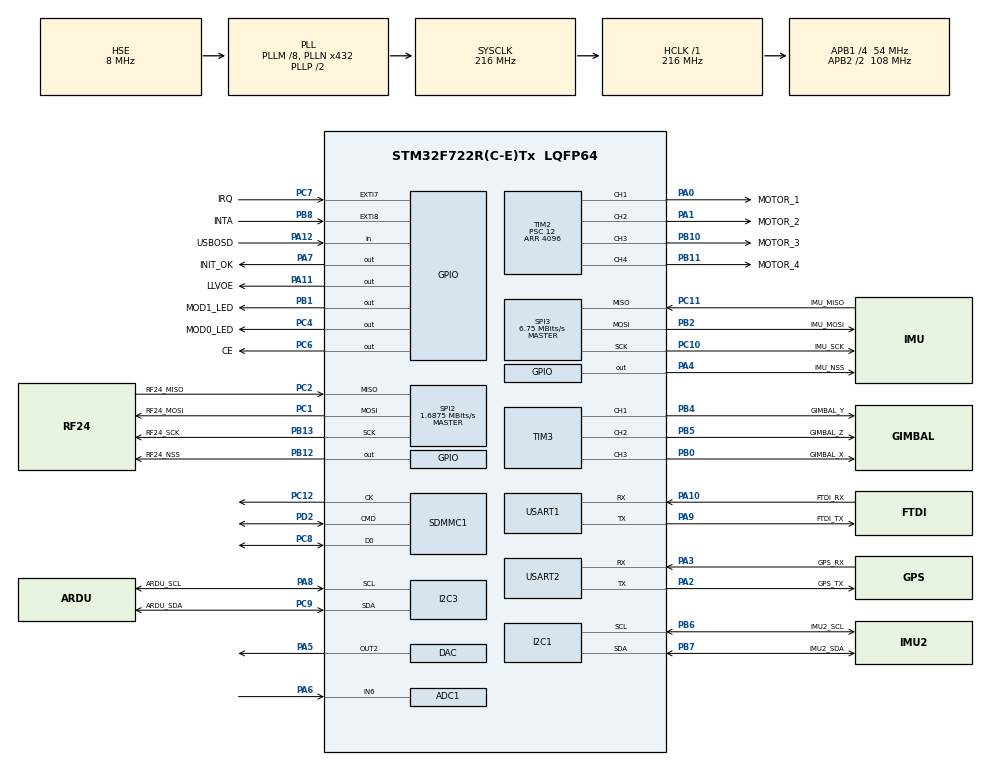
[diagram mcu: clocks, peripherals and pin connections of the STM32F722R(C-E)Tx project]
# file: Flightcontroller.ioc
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ADC1.Channel-1\#ChannelRegularConversion=ADC_CHANNEL_6
ADC1.NbrOfConversionFlag=1
ADC1.Rank-1\#ChannelRegularConversion=1
ADC1.SamplingTime-1\#ChannelRegularConversion=ADC_SAMPLETIME_3CYCLES
ADC1.master=1
DAC.DAC_Trigger2=DAC_TRIGGER_T6_TRGO
DAC.WaveGeneration2=DISABLE
Dma.ADC1.7.Direction=DMA_PERIPH_TO_MEMORY
Dma.ADC1.7.FIFOMode=DMA_FIFOMODE_DISABLE
Dma.ADC1.7.Instance=DMA2_Stream0
Dma.ADC1.7.MemDataAlignment=DMA_MDATAALIGN_HALFWORD
Dma.ADC1.7.MemInc=DMA_MINC_ENABLE
Dma.ADC1.7.Mode=DMA_NORMAL
Dma.ADC1.7.PeriphDataAlignment=DMA_PDATAALIGN_HALFWORD
Dma.ADC1.7.PeriphInc=DMA_PINC_DISABLE
Dma.ADC1.7.Priority=DMA_PRIORITY_LOW
Dma.DAC2.6.Direction=DMA_MEMORY_TO_PERIPH
Dma.DAC2.6.FIFOMode=DMA_FIFOMODE_DISABLE
Dma.DAC2.6.Instance=DMA1_Stream6
Dma.DAC2.6.MemDataAlignment=DMA_MDATAALIGN_BYTE
Dma.DAC2.6.MemInc=DMA_MINC_ENABLE
Dma.DAC2.6.Mode=DMA_CIRCULAR
Dma.DAC2.6.PeriphDataAlignment=DMA_PDATAALIGN_BYTE
Dma.DAC2.6.PeriphInc=DMA_PINC_DISABLE
Dma.DAC2.6.Priority=DMA_PRIORITY_LOW
Dma.I2C3_RX.5.Direction=DMA_PERIPH_TO_MEMORY
Dma.I2C3_RX.5.FIFOMode=DMA_FIFOMODE_DISABLE
Dma.I2C3_RX.5.Instance=DMA1_Stream1
Dma.I2C3_RX.5.MemDataAlignment=DMA_MDATAALIGN_BYTE
Dma.I2C3_RX.5.MemInc=DMA_MINC_ENABLE
Dma.I2C3_RX.5.Mode=DMA_NORMAL
Dma.I2C3_RX.5.PeriphDataAlignment=DMA_PDATAALIGN_BYTE
Dma.I2C3_RX.5.PeriphInc=DMA_PINC_DISABLE
Dma.I2C3_RX.5.Priority=DMA_PRIORITY_LOW
Dma.Request0=SPI2_RX
Dma.Request1=SPI3_RX
Dma.Request10=USART1_RX
Dma.Request11=USART1_TX
Dma.Request2=SPI3_TX
Dma.Request3=SPI2_TX
Dma.Request4=SDMMC1_TX
Dma.Request5=I2C3_RX
Dma.Request6=DAC2
Dma.Request7=ADC1
Dma.Request8=SDMMC1_RX
Dma.Request9=USART2_RX
Dma.SDMMC1_RX.8.Direction=DMA_PERIPH_TO_MEMORY
Dma.SDMMC1_RX.8.FIFOMode=DMA_FIFOMODE_ENABLE
Dma.SDMMC1_RX.8.FIFOThreshold=DMA_FIFO_THRESHOLD_FULL
Dma.SDMMC1_RX.8.Instance=DMA2_Stream3
Dma.SDMMC1_RX.8.MemBurst=DMA_MBURST_INC4
Dma.SDMMC1_RX.8.MemDataAlignment=DMA_MDATAALIGN_WORD
Dma.SDMMC1_RX.8.MemInc=DMA_MINC_ENABLE
Dma.SDMMC1_RX.8.Mode=DMA_PFCTRL
Dma.SDMMC1_RX.8.PeriphBurst=DMA_PBURST_INC4
Dma.SDMMC1_RX.8.PeriphDataAlignment=DMA_PDATAALIGN_WORD
Dma.SDMMC1_RX.8.PeriphInc=DMA_PINC_DISABLE
Dma.SDMMC1_RX.8.Priority=DMA_PRIORITY_LOW
Dma.SDMMC1_TX.4.Direction=DMA_MEMORY_TO_PERIPH
Dma.SDMMC1_TX.4.FIFOMode=DMA_FIFOMODE_ENABLE
Dma.SDMMC1_TX.4.FIFOThreshold=DMA_FIFO_THRESHOLD_FULL
Dma.SDMMC1_TX.4.Instance=DMA2_Stream6
Dma.SDMMC1_TX.4.MemBurst=DMA_MBURST_INC4
Dma.SDMMC1_TX.4.MemDataAlignment=DMA_MDATAALIGN_WORD
Dma.SDMMC1_TX.4.MemInc=DMA_MINC_ENABLE
Dma.SDMMC1_TX.4.Mode=DMA_PFCTRL
Dma.SDMMC1_TX.4.PeriphBurst=DMA_PBURST_INC4
Dma.SDMMC1_TX.4.PeriphDataAlignment=DMA_PDATAALIGN_WORD
Dma.SDMMC1_TX.4.PeriphInc=DMA_PINC_DISABLE
Dma.SDMMC1_TX.4.Priority=DMA_PRIORITY_LOW
Dma.SPI2_RX.0.Direction=DMA_PERIPH_TO_MEMORY
Dma.SPI2_RX.0.FIFOMode=DMA_FIFOMODE_DISABLE
Dma.SPI2_RX.0.Instance=DMA1_Stream3
Dma.SPI2_RX.0.MemDataAlignment=DMA_MDATAALIGN_BYTE
Dma.SPI2_RX.0.MemInc=DMA_MINC_ENABLE
Dma.SPI2_RX.0.Mode=DMA_NORMAL
Dma.SPI2_RX.0.PeriphDataAlignment=DMA_PDATAALIGN_BYTE
Dma.SPI2_RX.0.PeriphInc=DMA_PINC_DISABLE
Dma.SPI2_RX.0.Priority=DMA_PRIORITY_LOW
Dma.SPI2_TX.3.Direction=DMA_MEMORY_TO_PERIPH
Dma.SPI2_TX.3.FIFOMode=DMA_FIFOMODE_DISABLE
Dma.SPI2_TX.3.Instance=DMA1_Stream4
Dma.SPI2_TX.3.MemDataAlignment=DMA_MDATAALIGN_BYTE
Dma.SPI2_TX.3.MemInc=DMA_MINC_ENABLE
Dma.SPI2_TX.3.Mode=DMA_NORMAL
Dma.SPI2_TX.3.PeriphDataAlignment=DMA_PDATAALIGN_BYTE
Dma.SPI2_TX.3.PeriphInc=DMA_PINC_DISABLE
Dma.SPI2_TX.3.Priority=DMA_PRIORITY_LOW
Dma.SPI3_RX.1.Direction=DMA_PERIPH_TO_MEMORY
Dma.SPI3_RX.1.FIFOMode=DMA_FIFOMODE_DISABLE
Dma.SPI3_RX.1.Instance=DMA1_Stream2
Dma.SPI3_RX.1.MemDataAlignment=DMA_MDATAALIGN_BYTE
Dma.SPI3_RX.1.MemInc=DMA_MINC_ENABLE
Dma.SPI3_RX.1.Mode=DMA_NORMAL
Dma.SPI3_RX.1.PeriphDataAlignment=DMA_PDATAALIGN_BYTE
Dma.SPI3_RX.1.PeriphInc=DMA_PINC_DISABLE
Dma.SPI3_RX.1.Priority=DMA_PRIORITY_HIGH
Dma.SPI3_TX.2.Direction=DMA_MEMORY_TO_PERIPH
Dma.SPI3_TX.2.FIFOMode=DMA_FIFOMODE_DISABLE
Dma.SPI3_TX.2.Instance=DMA1_Stream7
Dma.SPI3_TX.2.MemDataAlignment=DMA_MDATAALIGN_BYTE
Dma.SPI3_TX.2.MemInc=DMA_MINC_ENABLE
Dma.SPI3_TX.2.Mode=DMA_NORMAL
Dma.SPI3_TX.2.PeriphDataAlignment=DMA_PDATAALIGN_BYTE
Dma.SPI3_TX.2.PeriphInc=DMA_PINC_DISABLE
Dma.SPI3_TX.2.Priority=DMA_PRIORITY_HIGH
Dma.USART1_RX.10.Direction=DMA_PERIPH_TO_MEMORY
Dma.USART1_RX.10.FIFOMode=DMA_FIFOMODE_DISABLE
Dma.USART1_RX.10.Instance=DMA2_Stream2
Dma.USART1_RX.10.MemDataAlignment=DMA_MDATAALIGN_BYTE
Dma.USART1_RX.10.MemInc=DMA_MINC_ENABLE
Dma.USART1_RX.10.Mode=DMA_NORMAL
Dma.USART1_RX.10.PeriphDataAlignment=DMA_PDATAALIGN_BYTE
Dma.USART1_RX.10.PeriphInc=DMA_PINC_DISABLE
Dma.USART1_RX.10.Priority=DMA_PRIORITY_LOW
Dma.USART1_TX.11.Direction=DMA_MEMORY_TO_PERIPH
Dma.USART1_TX.11.FIFOMode=DMA_FIFOMODE_DISABLE
Dma.USART1_TX.11.Instance=DMA2_Stream7
Dma.USART1_TX.11.MemDataAlignment=DMA_MDATAALIGN_BYTE
Dma.USART1_TX.11.MemInc=DMA_MINC_ENABLE
Dma.USART1_TX.11.Mode=DMA_NORMAL
Dma.USART1_TX.11.PeriphDataAlignment=DMA_PDATAALIGN_BYTE
Dma.USART1_TX.11.PeriphInc=DMA_PINC_DISABLE
Dma.USART1_TX.11.Priority=DMA_PRIORITY_LOW
Dma.USART2_RX.9.Direction=DMA_PERIPH_TO_MEMORY
Dma.USART2_RX.9.FIFOMode=DMA_FIFOMODE_DISABLE
Dma.USART2_RX.9.Instance=DMA1_Stream5
Dma.USART2_RX.9.MemDataAlignment=DMA_MDATAALIGN_BYTE
Dma.USART2_RX.9.MemInc=DMA_MINC_ENABLE
Dma.USART2_RX.9.Mode=DMA_CIRCULAR
Dma.USART2_RX.9.PeriphDataAlignment=DMA_PDATAALIGN_BYTE
Dma.USART2_RX.9.PeriphInc=DMA_PINC_DISABLE
Dma.USART2_RX.9.Priority=DMA_PRIORITY_LOW
FATFS.BSP.number=1
FATFS0.BSP.STBoard=false
FATFS0.BSP.api=Unknown
FATFS0.BSP.i2caddr=0
FATFS0.BSP.instance=PA12
FATFS0.BSP.ip=GPIO
FATFS0.BSP.mode=Input
FATFS0.BSP.name=Detect_SDIO
FATFS0.BSP.solution=PA12
I2C1.Timing=0x20404768
I2C3.Timing=0x20404768
Mcu.Family=STM32F7
Mcu.Name=STM32F722R(C-E)Tx
Mcu.Package=LQFP64
NVIC.DMA1_Stream1_IRQn=true\:0\:0\:false\:false\:true\:false\:true
NVIC.DMA1_Stream2_IRQn=true\:0\:0\:false\:false\:true\:false\:true
NVIC.DMA1_Stream3_IRQn=true\:0\:0\:false\:false\:true\:false\:true
NVIC.DMA1_Stream4_IRQn=true\:0\:0\:false\:false\:true\:false\:true
NVIC.DMA1_Stream5_IRQn=true\:0\:0\:false\:false\:true\:false\:true
NVIC.DMA1_Stream6_IRQn=true\:0\:0\:false\:false\:true\:false\:true
NVIC.DMA1_Stream7_IRQn=true\:0\:0\:false\:false\:true\:false\:true
NVIC.DMA2_Stream0_IRQn=true\:0\:0\:false\:false\:true\:false\:true
NVIC.DMA2_Stream2_IRQn=true\:0\:0\:false\:false\:true\:false\:true
NVIC.DMA2_Stream3_IRQn=true\:0\:0\:false\:false\:true\:false\:true
NVIC.DMA2_Stream6_IRQn=true\:0\:0\:false\:false\:true\:false\:true
NVIC.DMA2_Stream7_IRQn=true\:0\:0\:false\:false\:true\:false\:true
NVIC.EXTI9_5_IRQn=true\:0\:0\:false\:false\:true\:true\:true
NVIC.PriorityGroup=NVIC_PRIORITYGROUP_4
NVIC.SDMMC1_IRQn=true\:0\:0\:false\:false\:true\:true\:true
NVIC.TIM4_IRQn=true\:0\:0\:false\:false\:true\:true\:true
NVIC.USART2_IRQn=true\:0\:0\:false\:false\:true\:true\:true
PA0-WKUP.GPIO_Label=MOTOR_1
PA0-WKUP.Signal=S_TIM2_CH1_ETR
PA1.GPIO_Label=MOTOR_2
PA1.Signal=S_TIM2_CH2
PA10.GPIO_Label=FTDI_RX
PA10.Mode=Asynchronous
PA10.Signal=USART1_RX
PA11.GPIO_Label=LLVOE
PA11.Signal=GPIO_Output
PA12.GPIO_Label=USBOSD
PA12.GPIO_PuPd=GPIO_NOPULL
PA12.Signal=GPIO_Input
PA13.Mode=Serial_Wire
PA13.Signal=SYS_JTMS-SWDIO
PA14.Mode=Serial_Wire
PA14.Signal=SYS_JTCK-SWCLK
PA2.GPIO_Label=GPS_TX
PA2.Mode=Asynchronous
PA2.Signal=USART2_TX
PA3.GPIO_Label=GPS_RX
PA3.Mode=Asynchronous
PA3.Signal=USART2_RX
PA4.GPIO_Label=IMU_NSS
PA4.GPIO_Speed=GPIO_SPEED_FREQ_VERY_HIGH
PA4.PinState=GPIO_PIN_SET
PA4.Signal=GPIO_Output
PA5.Signal=COMP_DAC2_group
PA6.Signal=ADCx_IN6
PA7.GPIO_Label=INIT_OK
PA7.Signal=GPIO_Output
PA8.GPIO_Label=ARDU_SCL
PA8.Mode=I2C
PA8.Signal=I2C3_SCL
PA9.GPIO_Label=FTDI_TX
PA9.Mode=Asynchronous
PA9.Signal=USART1_TX
PB0.GPIO_Label=GIMBAL_X
PB0.Signal=S_TIM3_CH3
PB1.GPIO_Label=MOD1_LED
PB1.Signal=GPIO_Output
PB10.GPIO_Label=MOTOR_3
PB10.Signal=S_TIM2_CH3
PB11.GPIO_Label=MOTOR_4
PB11.Signal=S_TIM2_CH4
PB12.GPIO_Label=RF24_NSS
PB12.GPIO_PuPd=GPIO_PULLUP
PB12.GPIO_Speed=GPIO_SPEED_FREQ_VERY_HIGH
PB12.PinState=GPIO_PIN_SET
PB12.Signal=GPIO_Output
PB13.GPIO_Label=RF24_SCK
PB13.Mode=Full_Duplex_Master
PB13.Signal=SPI2_SCK
PB2.GPIO_Label=IMU_MOSI
PB2.Mode=Full_Duplex_Master
PB2.Signal=SPI3_MOSI
PB4.GPIO_Label=GIMBAL_Y
PB4.Signal=S_TIM3_CH1
PB5.GPIO_Label=GIMBAL_Z
PB5.Signal=S_TIM3_CH2
PB6.GPIO_Label=IMU2_SCL
PB6.Mode=I2C
PB6.Signal=I2C1_SCL
PB7.GPIO_Label=IMU2_SDA
PB7.Mode=I2C
PB7.Signal=I2C1_SDA
PB8.GPIO_Label=INTA
PB8.Signal=GPXTI8
PC1.GPIO_Label=RF24_MOSI
PC1.Mode=Full_Duplex_Master
PC1.Signal=SPI2_MOSI
PC10.GPIO_Label=IMU_SCK
PC10.Mode=Full_Duplex_Master
PC10.Signal=SPI3_SCK
PC11.GPIO_Label=IMU_MISO
PC11.Mode=Full_Duplex_Master
PC11.Signal=SPI3_MISO
PC12.Mode=SD_1_bit
PC12.Signal=SDMMC1_CK
PC2.GPIO_Label=RF24_MISO
PC2.Mode=Full_Duplex_Master
PC2.Signal=SPI2_MISO
PC4.GPIO_Label=MOD0_LED
PC4.Signal=GPIO_Output
PC6.GPIO_Label=CE
PC6.Signal=GPIO_Output
PC7.GPIO_Label=IRQ
PC7.Signal=GPXTI7
PC8.Mode=SD_1_bit
PC8.Signal=SDMMC1_D0
PC9.GPIO_Label=ARDU_SDA
PC9.Mode=I2C
PC9.Signal=I2C3_SDA
PD2.Mode=SD_1_bit
PD2.Signal=SDMMC1_CMD
PH0-OSC_IN.Mode=HSE-External-Oscillator
PH0-OSC_IN.Signal=RCC_OSC_IN
PH1-OSC_OUT.Mode=HSE-External-Oscillator
PH1-OSC_OUT.Signal=RCC_OSC_OUT
ProjectManager.HeapSize=0x2000
ProjectManager.StackSize=0x4000
ProjectManager.TargetToolchain=STM32CubeIDE
RCC.AHBFreq_Value=216000000
RCC.APB1CLKDivider=RCC_HCLK_DIV4
RCC.APB1Freq_Value=54000000
RCC.APB1TimFreq_Value=108000000
RCC.APB2CLKDivider=RCC_HCLK_DIV2
RCC.APB2Freq_Value=108000000
RCC.APB2TimFreq_Value=216000000
RCC.CortexFreq_Value=216000000
RCC.HCLKFreq_Value=216000000
RCC.HSE_VALUE=8000000
RCC.HSI_VALUE=16000000
RCC.LSE_VALUE=32768
RCC.PLLM=8
RCC.PLLN=432
RCC.PLLQ=9
RCC.PLLSourceVirtual=RCC_PLLSOURCE_HSE
RCC.SDMMCClockSelection=RCC_SDMMC1CLKSOURCE_CLK48
RCC.SYSCLKFreq_VALUE=216000000
RCC.SYSCLKSource=RCC_SYSCLKSOURCE_PLLCLK
RCC.USBFreq_Value=48000000
RCC.VCOOutputFreq_Value=432000000
SDMMC1.ClockDiv=0
SH.ADCx_IN6.0=ADC1_IN6,IN6
SH.COMP_DAC2_group.0=DAC_OUT2,DAC_OUT2
SH.S_TIM2_CH1_ETR.0=TIM2_CH1,PWM Generation1 CH1
SH.S_TIM2_CH2.0=TIM2_CH2,PWM Generation2 CH2
SH.S_TIM2_CH3.0=TIM2_CH3,PWM Generation3 CH3
SH.S_TIM2_CH4.0=TIM2_CH4,PWM Generation4 CH4
SH.S_TIM3_CH1.0=TIM3_CH1,PWM Generation1 CH1
SH.S_TIM3_CH2.0=TIM3_CH2,PWM Generation2 CH2
SH.S_TIM3_CH3.0=TIM3_CH3,PWM Generation3 CH3
SPI2.BaudRatePrescaler=SPI_BAUDRATEPRESCALER_32
SPI2.CalculateBaudRate=1.6875 MBits/s
SPI2.DataSize=SPI_DATASIZE_8BIT
SPI2.Direction=SPI_DIRECTION_2LINES
SPI2.Mode=SPI_MODE_MASTER
SPI2.VirtualType=VM_MASTER
SPI3.BaudRatePrescaler=SPI_BAUDRATEPRESCALER_8
SPI3.CalculateBaudRate=6.75 MBits/s
SPI3.DataSize=SPI_DATASIZE_8BIT
SPI3.Direction=SPI_DIRECTION_2LINES
SPI3.Mode=SPI_MODE_MASTER
SPI3.NSSPMode=SPI_NSS_PULSE_DISABLE
SPI3.VirtualType=VM_MASTER
TIM2.Channel-PWM\ Generation1\ CH1=TIM_CHANNEL_1
TIM2.Channel-PWM\ Generation2\ CH2=TIM_CHANNEL_2
TIM2.Channel-PWM\ Generation3\ CH3=TIM_CHANNEL_3
TIM2.Channel-PWM\ Generation4\ CH4=TIM_CHANNEL_4
TIM2.Period=4096
TIM2.Prescaler=12
TIM3.Channel-PWM\ Generation1\ CH1=TIM_CHANNEL_1
TIM3.Channel-PWM\ Generation2\ CH2=TIM_CHANNEL_2
TIM3.Channel-PWM\ Generation3\ CH3=TIM_CHANNEL_3
TIM4.Period=53999
TIM4.Prescaler=7
TIM6.Period=10
TIM6.TIM_MasterOutputTrigger=TIM_TRGO_UPDATE
USART1.VirtualMode-Asynchronous=VM_ASYNC
USART2.VirtualMode-Asynchronous=VM_ASYNC
VP_FATFS_VS_SDIO.Mode=SDIO
VP_TIM2_VS_ClockSourceINT.Mode=Internal
VP_TIM4_VS_ClockSourceINT.Mode=Internal
VP_TIM6_VS_ClockSourceINT.Mode=Enable_Timer
board=custom

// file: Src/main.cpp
/* USER CODE BEGIN Header */
/**
  ******************************************************************************
  * @file           : main.c
  * @brief          : Main program body
  ******************************************************************************
  * @attention
  *
  * <h2><center>&copy; Copyright (c) 2019 STMicroelectronics.
  * All rights reserved.</center></h2>
  *
  * This software component is licensed by ST under BSD 3-Clause license,
  * the "License"; You may not use this file except in compliance with the
  * License. You may obtain a copy of the License at:
  *                        opensource.org/licenses/BSD-3-Clause
  *
  ******************************************************************************
  */
/* USER CODE END Header */

#include "main.h"
#include "stdio.h"
#include "adc.h"
#include "dac.h"
#include "dma.h"
#include "fatfs.h"
#include "i2c.h"
#include "sdmmc.h"
#include "spi.h"
#include "tim.h"
#include "usart.h"
#include "gpio.h"

/* USER CODE BEGIN Includes */
#include "math.h"
#include "ICM20689.h"
#include "MPU6050.h"
#include "RF24.h"
#include "IMU.h"
#include <string>
/* USER CODE END Includes */

/* USER CODE BEGIN PD */
#define ARM_CM_DEMCR      		(*(uint32_t *)0xE000EDFC)
#define ARM_CM_DWT_CTRL   		(*(uint32_t *)0xE0001000)
#define ARM_CM_DWT_CYCCNT 		(*(uint32_t *)0xE0001004)

#define ICM20689_ENABLE 		1

#define SD_CARD					0

#define ICM20689_OFFSET_FIND  	0

#define PID_TRUE_ANGLE			1
#define PID_ANGLE_MOTION		0

#define USB_MODE 				true
#define OSD_MODE 				false

#define DLPF_FREQ_YAW			5.0
#define DLPF_FREQ_PITCHROLL		200.0

#define CUTOFF_ANGLE			40.0

#define MAX_CORRECTION			600
/* USER CODE END PD */

void SystemClock_Config(void);

/* USER CODE BEGIN 0 */
uint8_t  sine[256] = { //!< 8bit sine for test with DAC
  0x80, 0x83, 0x86, 0x89, 0x8C, 0x90, 0x93, 0x96,
  0x99, 0x9C, 0x9F, 0xA2, 0xA5, 0xA8, 0xAB, 0xAE,
  0xB1, 0xB3, 0xB6, 0xB9, 0xBC, 0xBF, 0xC1, 0xC4,
  0xC7, 0xC9, 0xCC, 0xCE, 0xD1, 0xD3, 0xD5, 0xD8,
  0xDA, 0xDC, 0xDE, 0xE0, 0xE2, 0xE4, 0xE6, 0xE8,
  0xEA, 0xEB, 0xED, 0xEF, 0xF0, 0xF1, 0xF3, 0xF4,
  0xF5, 0xF6, 0xF8, 0xF9, 0xFA, 0xFA, 0xFB, 0xFC,
  0xFD, 0xFD, 0xFE, 0xFE, 0xFE, 0xFF, 0xFF, 0xFF,
  0xFF, 0xFF, 0xFF, 0xFF, 0xFE, 0xFE, 0xFE, 0xFD,
  0xFD, 0xFC, 0xFB, 0xFA, 0xFA, 0xF9, 0xF8, 0xF6,
  0xF5, 0xF4, 0xF3, 0xF1, 0xF0, 0xEF, 0xED, 0xEB,
  0xEA, 0xE8, 0xE6, 0xE4, 0xE2, 0xE0, 0xDE, 0xDC,
  0xDA, 0xD8, 0xD5, 0xD3, 0xD1, 0xCE, 0xCC, 0xC9,
  0xC7, 0xC4, 0xC1, 0xBF, 0xBC, 0xB9, 0xB6, 0xB3,
  0xB1, 0xAE, 0xAB, 0xA8, 0xA5, 0xA2, 0x9F, 0x9C,
  0x99, 0x96, 0x93, 0x90, 0x8C, 0x89, 0x86, 0x83,
  0x80, 0x7D, 0x7A, 0x77, 0x74, 0x70, 0x6D, 0x6A,
  0x67, 0x64, 0x61, 0x5E, 0x5B, 0x58, 0x55, 0x52,
  0x4F, 0x4D, 0x4A, 0x47, 0x44, 0x41, 0x3F, 0x3C,
  0x39, 0x37, 0x34, 0x32, 0x2F, 0x2D, 0x2B, 0x28,
  0x26, 0x24, 0x22, 0x20, 0x1E, 0x1C, 0x1A, 0x18,
  0x16, 0x15, 0x13, 0x11, 0x10, 0x0F, 0x0D, 0x0C,
  0x0B, 0x0A, 0x08, 0x07, 0x06, 0x06, 0x05, 0x04,
  0x03, 0x03, 0x02, 0x02, 0x02, 0x01, 0x01, 0x01,
  0x01, 0x01, 0x01, 0x01, 0x02, 0x02, 0x02, 0x03,
  0x03, 0x04, 0x05, 0x06, 0x06, 0x07, 0x08, 0x0A,
  0x0B, 0x0C, 0x0D, 0x0F, 0x10, 0x11, 0x13, 0x15,
  0x16, 0x18, 0x1A, 0x1C, 0x1E, 0x20, 0x22, 0x24,
  0x26, 0x28, 0x2B, 0x2D, 0x2F, 0x32, 0x34, 0x37,
  0x39, 0x3C, 0x3F, 0x41, 0x44, 0x47, 0x4A, 0x4D,
  0x4F, 0x52, 0x55, 0x58, 0x5B, 0x5E, 0x61, 0x64,
  0x67, 0x6A, 0x6D, 0x70, 0x74, 0x77, 0x7A, 0x7D
};
bool 						osdusb = USB_MODE;						//!< define UART output to USB or OSD
void 						motor_calibration();					//!< Motorcalibration

//ICM
Sensor::ICM20689 			imu;									//!< define IMU (ICM20689) notused
const float 				PI = 3.1415;							//!< pi constant

uint32_t 					start = 0, stop = 0;					//!< start and stop for looptime measurement (read clockcycles)
volatile double 			lptime = 0;								//!< looptime in seconds

//Radio
RF24 						radio(GPIOC, 6, GPIOB, 12, &hspi2);		//!< define radio (nRF24L01)
void 						loopRadio(); 							//!< function: loops radio read data from radio into recvData
//const uint8_t addresses[][6] = {"1Node","2Node"};//!<

//uint8_t data[1] = { 0x41};

//! Acknowlegement struct
struct AckData{
	int16_t 				yaw;									//!< 2 bytes 2
	int16_t 				pitch;									//!< 2 bytes 4
	int16_t 				roll;									//!< 2 bytes 6

	uint16_t 				heading;								//!< 2 bytes 8
	uint32_t 				altitude; 								//!< 4 bytes 12

	uint32_t 				LV03x;									//!< 4 byte 16
	uint32_t 				LV03y;									//!< 4 byte 20

	uint16_t 				flags;									//!< 2 bytes 22
	uint32_t				uptdate_time; 							//!< 4 bytes 26
};

//! receive message struct
struct RadioData{
	int16_t					yaw;									//!< 2 bytes 2
	int16_t					pitch;									//!< 2 bytes 4
	int16_t					roll;									//!< 2 bytes 6
	uint16_t				throttle;								//!< 2 bytes 8

	uint16_t				rp_P;									//!<2 bytes 10
	uint16_t				rp_I;									//!<2 bytes 12
	uint16_t				rp_D;									//!<2 bytes 14

	uint16_t				y_P;									//!<2 bytes 16
	uint16_t				y_I;									//!<2 bytes 18
	uint16_t				y_D;									//!<2 bytes 20

	uint16_t				flags;									//!< 2 bytes 10
	uint32_t				data;									//!< 4 bytes 14
};

AckData 					ackData;								//!< define acknowlegement data
RadioData 					recvData;								//!< define receive data

//I2cdev MPU6050
#if MPU6050_ENABLE == 1
MPU6050 					mpu;
uint16_t 					packetSize;
uint16_t 					fifoCount;
uint8_t	 					fifoBuffer[64];
Quaternion 					q;
VectorFloat 				gravity;
float 						ypr[3];
#endif

//PID
void 						PID_TrueAngle();						//!< function: PID calculation with true angle
void 						PID_AngleMotion();						//!< function: PID calculation with angular motion

int16_t 					pid_ta[3];								//!< define PID with true angle
int16_t 					pid_am[3];								//!< define PID with angle motion

volatile float 				_pid_ta[3][3];							//!< define individual PID for axis [axis][PID]
volatile float 				_pid_am[3][3];							//!< define individual PID for axis [axis][PID]

float						pid_gain_ta[3][3];						//!< define pid gain [axis][gain] for PID with true angles
float						pid_gain_am[3][3];						//!< define pid gain [axis][gain] for PID with angle motion

float 						error[3];								//!< define error
float 						previous_error[3];						//!< define previous error for D-Gain

//Digital Low-pass DLPF
volatile float				alpha;									//!< define alpha for DLPF
volatile float				alpha2;									//!< define alpha for DLPF
volatile float 				f_ypr[3];								//!< define filtered true angle values
float						z_point[2]	= {0,0};

//Motor
void 						setMotorSpeed();						//!< function: sets motor speed according to throttle and PID calculation
uint16_t 					motor_speed[4];							//!< define motor speed for the 4 motors

//SD Card
UINT						reSD;									//!< count errors of write to SD
int 						cc = 0;									//!< count number of data in buffer
double						tim = 0;								//!< elapsed time
char 						logbuf[10000];							//!< write buffer
std::string 				sbuf = " ";								//!< tmp write buffer in loop

char						gpsbuffer[80];							//!< GPSBuffer notused

//Zeropoint

float						z_point_avg[2];
int							avg_count = 100;

void HAL_SPI_RxCpltCallback(SPI_HandleTypeDef *hspi){
	//read IMU GYRO ACCEL alternating
	if (icm.init == true){
		int16_t r_gyro[3],r_accel[3];

		if(icm.ac == 0){
			r_gyro[0] = (icm.buf[0] << 8) | icm.buf[1];
			r_gyro[1] = (icm.buf[2] << 8) | icm.buf[3];
			r_gyro[2] = (icm.buf[4] << 8) | icm.buf[5];

			for(int i = 0; i<3; i++){
				icm.ypr[i] = r_gyro[i] / 65.5;
			}
			icm.ac = 1;
		}else{
			r_accel[0] = (icm.buf[0] << 8) | icm.buf[1];
			r_accel[1] = (icm.buf[2] << 8) | icm.buf[3];
			r_accel[2] = (icm.buf[4] << 8) | icm.buf[5];

			for(int i = 0; i<3; i++){
				icm.accel[i] =  r_accel[i] / 4096.0;
			}
			icm.ac = 0;
		}
		//NSS HIGH IMU SPI
		HAL_GPIO_WritePin(IMU_NSS_GPIO_Port, IMU_NSS_Pin, GPIO_PIN_SET);
	}
}

/* USER CODE END 0 */

int main(void)
{
  /* USER CODE BEGIN 1 */

	//init PID values
	pid_gain_am[0][0] = 0;
	pid_gain_am[0][1] = 0;
	pid_gain_am[0][2] = 0;

	pid_gain_ta[1][0] = 15;
	pid_gain_ta[1][1] = 0.025;
	pid_gain_ta[1][2] = 0.8;

	pid_gain_ta[2][0] = 15;
	pid_gain_ta[2][1] = 0.025;
	pid_gain_ta[2][2] = 0.8;

	icm.ac = 0;
	icm.init = false;
  /* USER CODE END 1 */

  /* MCU Configuration--------------------------------------------------------*/

  /* Reset of all peripherals, Initializes the Flash interface and the Systick. */

  HAL_Init();

  /* Configure the system clock */
  SystemClock_Config();

  /* Initialize all configured peripherals */
  MX_GPIO_Init();
  MX_DMA_Init();
  MX_I2C1_Init();
  MX_SDMMC1_SD_Init();
  MX_SPI2_Init();
  MX_USART1_UART_Init();
  MX_USART2_UART_Init();
  MX_FATFS_Init();
  MX_I2C3_Init();
  MX_TIM2_Init();
  MX_DAC_Init();
  MX_SPI3_Init();
  MX_ADC1_Init();
  MX_TIM3_Init();
  MX_TIM6_Init();
  MX_TIM4_Init();
  /* USER CODE BEGIN 2 */

  // INIT MOTORS
  // Start PWM on timer 2
  HAL_TIM_PWM_Start(&htim2, TIM_CHANNEL_1);
  HAL_TIM_PWM_Start(&htim2, TIM_CHANNEL_2);
  HAL_TIM_PWM_Start(&htim2, TIM_CHANNEL_3);
  HAL_TIM_PWM_Start(&htim2, TIM_CHANNEL_4);

  //Motor calibration

  // INIT GIMBAL
  // Start PWM on timer 3
  HAL_TIM_PWM_Start(&htim3, TIM_CHANNEL_1);
  HAL_TIM_PWM_Start(&htim3, TIM_CHANNEL_2);
  HAL_TIM_PWM_Start(&htim3, TIM_CHANNEL_3);

  //START LOGIC LEVEL CONVERTER
  //set LLVOE Pin HIGH
  HAL_GPIO_WritePin(LLVOE_GPIO_Port, LLVOE_Pin, GPIO_PIN_SET);

  //Set UART to USB or OSD Mode
  if(HAL_GPIO_ReadPin(USBOSD_GPIO_Port, USBOSD_Pin) == GPIO_PIN_RESET){
	  osdusb = USB_MODE;
	  motor_calibration();
	  HAL_GPIO_WritePin(MOD0_LED_GPIO_Port, MOD0_LED_Pin, GPIO_PIN_SET);
  }else{
	  osdusb = OSD_MODE;
	  HAL_GPIO_WritePin(MOD1_LED_GPIO_Port, MOD1_LED_Pin, GPIO_PIN_SET);
  }

  //Start and Test DAC
  HAL_TIM_Base_Start(&htim6);	//start Timer 6 for dac tickspeed
  HAL_DAC_Start_DMA(&hdac, DAC_CHANNEL_2, (uint32_t *)sine, 256, DAC_ALIGN_8B_R);	//start DAC DMA read from sine array in circular mode
  HAL_Delay(1000);
  HAL_TIM_Base_Stop(&htim6);

  //init IMU
#if ICM20689_ENABLE == 1
  //imu.Initalize();

  // RESET IMU
  uint8_t tmp[2] = {PWR_MGMT_1,0x40};
  HAL_GPIO_WritePin(IMU_NSS_GPIO_Port, IMU_NSS_Pin, GPIO_PIN_RESET);
  HAL_SPI_Transmit(&hspi3, tmp, 2, HAL_MAX_DELAY);
  while (HAL_SPI_GetState(&hspi3) != HAL_SPI_STATE_READY);
  HAL_GPIO_WritePin(IMU_NSS_GPIO_Port, IMU_NSS_Pin, GPIO_PIN_SET);
  HAL_Delay(100);

  // DISABLE I2C
  tmp[0] = USER_CTRL;
  tmp[1] = 0x10;
  HAL_GPIO_WritePin(IMU_NSS_GPIO_Port, IMU_NSS_Pin, GPIO_PIN_RESET);
  HAL_SPI_Transmit(&hspi3, tmp, 2, HAL_MAX_DELAY);
  while (HAL_SPI_GetState(&hspi3) != HAL_SPI_STATE_READY);
  HAL_GPIO_WritePin(IMU_NSS_GPIO_Port, IMU_NSS_Pin, GPIO_PIN_SET);
  HAL_Delay(10);

  // START IMU
  tmp[0] = PWR_MGMT_1;
  tmp[1] = 0x00;
  HAL_GPIO_WritePin(IMU_NSS_GPIO_Port, IMU_NSS_Pin, GPIO_PIN_RESET);
  HAL_SPI_Transmit(&hspi3, tmp, 2, HAL_MAX_DELAY);
  while (HAL_SPI_GetState(&hspi3) != HAL_SPI_STATE_READY);
  HAL_GPIO_WritePin(IMU_NSS_GPIO_Port, IMU_NSS_Pin, GPIO_PIN_SET);
  HAL_Delay(10);

  //CONTROL ID
  tmp[0] = WHO_AM_I|0x80;
  uint8_t whoami[1] ;
  HAL_GPIO_WritePin(IMU_NSS_GPIO_Port, IMU_NSS_Pin, GPIO_PIN_RESET);
  HAL_SPI_Transmit(&hspi3,(uint8_t *)tmp, 1, HAL_MAX_DELAY);
  HAL_SPI_Receive(&hspi3, (uint8_t *)whoami, 1, HAL_MAX_DELAY);
  while (HAL_SPI_GetState(&hspi3) != HAL_SPI_STATE_READY);
  HAL_GPIO_WritePin(IMU_NSS_GPIO_Port, IMU_NSS_Pin, GPIO_PIN_SET);
  // if IMU fails (whoami register returns false value)
  if(whoami[0] != 0x98){
	  for(;;){
		  HAL_GPIO_TogglePin(INIT_OK_GPIO_Port, INIT_OK_Pin);
		  HAL_Delay(100);
	  }
  }
  HAL_Delay(10);

  //set DLPF to 2 108.6 HZ BW
  tmp[0] = CONFIG;
  tmp[1] = 0x02;
  HAL_GPIO_WritePin(IMU_NSS_GPIO_Port, IMU_NSS_Pin, GPIO_PIN_RESET);
  HAL_SPI_Transmit(&hspi3, tmp, 2, HAL_MAX_DELAY);
  while (HAL_SPI_GetState(&hspi3) != HAL_SPI_STATE_READY);
  HAL_GPIO_WritePin(IMU_NSS_GPIO_Port, IMU_NSS_Pin, GPIO_PIN_SET);
  HAL_Delay(10);

  //set GYRO to 500dps 08
  tmp[0] = GYRO_CONFIG;
  tmp[1] = 0x08;
  HAL_GPIO_WritePin(IMU_NSS_GPIO_Port, IMU_NSS_Pin, GPIO_PIN_RESET);
  HAL_SPI_Transmit(&hspi3, tmp, 2, HAL_MAX_DELAY);
  while (HAL_SPI_GetState(&hspi3) != HAL_SPI_STATE_READY);
  HAL_GPIO_WritePin(IMU_NSS_GPIO_Port, IMU_NSS_Pin, GPIO_PIN_SET);
  HAL_Delay(10);

  //set ACCEL to 8g
  tmp[0] = ACCEL_CONFIG;
  tmp[1] = 0x10;
  HAL_GPIO_WritePin(IMU_NSS_GPIO_Port, IMU_NSS_Pin, GPIO_PIN_RESET);
  HAL_SPI_Transmit(&hspi3, tmp, 2, HAL_MAX_DELAY);
  while (HAL_SPI_GetState(&hspi3) != HAL_SPI_STATE_READY);
  HAL_GPIO_WritePin(IMU_NSS_GPIO_Port, IMU_NSS_Pin, GPIO_PIN_SET);
  HAL_Delay(10);

  //set ACCEL DLPF to 121.3Hz
  tmp[0] = ACCEL_CONFIG_2;
  tmp[1] = 0x02;
  HAL_GPIO_WritePin(IMU_NSS_GPIO_Port, IMU_NSS_Pin, GPIO_PIN_RESET);
  HAL_SPI_Transmit(&hspi3, tmp, 2, HAL_MAX_DELAY);
  while (HAL_SPI_GetState(&hspi3) != HAL_SPI_STATE_READY);
  HAL_GPIO_WritePin(IMU_NSS_GPIO_Port, IMU_NSS_Pin, GPIO_PIN_SET);
  HAL_Delay(10);

  //no divider
  tmp[0] = SMPLRT_DIV;
  tmp[1] = 0x00;
  HAL_GPIO_WritePin(IMU_NSS_GPIO_Port, IMU_NSS_Pin, GPIO_PIN_RESET);
  HAL_SPI_Transmit(&hspi3, tmp, 2, HAL_MAX_DELAY);
  while (HAL_SPI_GetState(&hspi3) != HAL_SPI_STATE_READY);
  HAL_GPIO_WritePin(IMU_NSS_GPIO_Port, IMU_NSS_Pin, GPIO_PIN_SET);
  HAL_Delay(10);

  //config Interrupt <- not used Tim based Interrupt
  tmp[0] = INT_PIN_CFG;
  tmp[1] = 0x00;
  HAL_GPIO_WritePin(IMU_NSS_GPIO_Port, IMU_NSS_Pin, GPIO_PIN_RESET);
  HAL_SPI_Transmit(&hspi3, tmp, 2, HAL_MAX_DELAY);
  while (HAL_SPI_GetState(&hspi3) != HAL_SPI_STATE_READY);
  HAL_GPIO_WritePin(IMU_NSS_GPIO_Port, IMU_NSS_Pin, GPIO_PIN_SET);
  HAL_Delay(10);

  //enable Interrupt <- not used Tim based Interrupt
  tmp[0] = INT_ENABLE;
  tmp[1] = 0x01;
  HAL_GPIO_WritePin(IMU_NSS_GPIO_Port, IMU_NSS_Pin, GPIO_PIN_RESET);
  HAL_SPI_Transmit(&hspi3, tmp, 2, HAL_MAX_DELAY);
  while (HAL_SPI_GetState(&hspi3) != HAL_SPI_STATE_READY);
  HAL_GPIO_WritePin(IMU_NSS_GPIO_Port, IMU_NSS_Pin, GPIO_PIN_SET);
  HAL_Delay(10);

  //initalizing complete
  icm.init = true;
#endif

#if ICM20689_OFFSET_FIND == 1 and ICM20689_ENABLE == 1
  imu.FindOffset();
#endif

  	//start DWT counter also when not in Debug mode to count clock ticks
  	CoreDebug->DEMCR |= CoreDebug_DEMCR_TRCENA_Msk;	//https://stackoverflow.com/questions/36378280/stm32-how-to-enable-dwt-cycle-counter
	DWT->LAR = 0xC5ACCE55; //https://stackoverflow.com/questions/36378280/stm32-how-to-enable-dwt-cycle-counter 12.10.19 02:03
	DWT->CYCCNT = 0;//https://www.carminenoviello.com/2015/09/04/precisely-measure-microseconds-stm32/ 12.10.19 01:30
	DWT->CTRL |= DWT_CTRL_CYCCNTENA_Msk;

  	//initalize RF24
  	const uint64_t pipe = 0xE8E8F0F0E2;	//pipe address
  	radio.begin();
  	radio.setPayloadSize(32);
	radio.setChannel(125);
	radio.setDataRate(RF24_250KBPS);
	radio.setPALevel(RF24_PA_MAX);
	radio.setAutoAck(true);
	radio.enableDynamicPayloads();
	radio.enableAckPayload();
  	radio.openReadingPipe(1, pipe);

  	radio.printDetails();

  	radio.startListening();

  //sd card init
#if SD_CARD == 1
  //https://www.youtube.com/watch?v=0NbBem8U80Y [11.10.19 14:22] // https://drive.google.com/file/d/1ZunUVcv1RYljzmQe1B3sUUbpJ6705hpM/view
  	if(f_mount(&SDFatFS, SDPath, 1) == FR_OK){
  		char mfil[] = "TESTEXT";
  		if(f_open(&SDFile, mfil, FA_WRITE|FA_CREATE_ALWAYS) == FR_OK){
  			char buf[] = "Hello World";
  			f_write(&SDFile, buf, sizeof(buf), &reSD);
  		}
  		f_close(&SDFile);
  	}

  	//Init and create new LOG file
  	char mfil[] = "LOG";
	if(f_open(&SDFile, mfil, FA_WRITE|FA_CREATE_ALWAYS) == FR_OK){

	}
	f_close(&SDFile);
#endif
	// initalisation is OK
	HAL_Delay(1000);
	HAL_GPIO_WritePin(INIT_OK_GPIO_Port, INIT_OK_Pin, GPIO_PIN_SET);
  /* USER CODE END 2 */

	HAL_TIM_Base_Start_IT(&htim4); //start IMU trigger

  /* Infinite loop */
  /* USER CODE BEGIN WHILE */
  while (1)
  {
	  start = DWT->CYCCNT; //read value from counter register
#if ICM20689_ENABLE == 1

	  //read values from IMU
	  //calculate angle with acceleration
	  float fullvec = sqrt(pow(icm.accel[0],2) + pow(icm.accel[1],2) + pow(icm.accel[2],2)); //calculate full vector with Pythagoras' theorem
	  if(fullvec == 0) {fullvec = 1;}
	  float acangle[2];	//acceleration angle

	  acangle[0] = asin(icm.accel[0]/fullvec) * -57.29577951;	//calculate acceleration sin-1(angle/fullvec)
	  acangle[1] = asin(icm.accel[1]/fullvec) * 57.29577951;

	  //calculate angle with angular motion
	  icm.t_ypr[0] += icm.ypr[0]*lptime;
	  icm.t_ypr[1] += icm.ypr[1]*lptime;
	  icm.t_ypr[2] += icm.ypr[2]*lptime;

	  alpha2 = (DLPF_FREQ_YAW * lptime) / (1 + DLPF_FREQ_YAW * lptime);
	  f_ypr[2] = f_ypr[2] - (alpha2 * (f_ypr[2] - icm.ypr[2]));

	  //roll and pitch tuning on yaw movement https://www.youtube.com/watch?v=4BoIE8YQwM8 17.10.2019
	  icm.t_ypr[0] -= icm.t_ypr[1] * sin(icm.ypr[2] * 0.017453293 * lptime);
	  icm.t_ypr[1] += icm.t_ypr[0] * sin(icm.ypr[2] * 0.017453293 * lptime);

	  //complementary filter
	  icm.t_ypr[0] = icm.t_ypr[0] * 0.9996 + acangle[1] * 0.0004;	// angle is mixed up
	  icm.t_ypr[1] = icm.t_ypr[1] * 0.9996 + acangle[0] * 0.0004;

	  //Digital Low Pass filtering https://kiritchatterjee.wordpress.com/2014/11/10/a-simple-digital-low-pass-filter-in-c/ [9.10.19 22:52]
	  //yet only for true angle
	  //alpha = (DLPF_FREQ_PITCHROLL * lptime) / (1 + DLPF_FREQ_PITCHROLL * lptime);
	  //f_ypr[0] = f_ypr[0] - (alpha * (f_ypr[0] - icm.t_ypr[0]));
	  //f_ypr[1] = f_ypr[1] - (alpha * (f_ypr[1] - icm.t_ypr[1]));

	  if (isnan(icm.t_ypr[0])){
		  icm.t_ypr[0] = 0;
	  }

	  if (isnan(icm.t_ypr[1])){
		  icm.t_ypr[1] = 0;
	  }

	  if(avg_count >= 0){
		  z_point_avg[0] += icm.t_ypr[0];
		  z_point_avg[1] += icm.t_ypr[1];

		  avg_count--;
	  }else if(avg_count == -1){
		  z_point[0] = z_point_avg[0]/100;
		  z_point[1] = z_point_avg[1]/100;
		  HAL_GPIO_WritePin(INIT_OK_GPIO_Port, INIT_OK_Pin, GPIO_PIN_RESET);
	  }

	  if(recvData.throttle < 100){

		pid_gain_am[0][0] = recvData.y_P/100.0;
		pid_gain_am[0][1] = recvData.y_I/100.0;
		pid_gain_am[0][2] = recvData.y_D/100.0;

		pid_gain_ta[1][0] = recvData.rp_P/100.0;
		pid_gain_ta[1][1] = recvData.rp_I/100.0;
		pid_gain_ta[1][2] = recvData.rp_D/100.0;

		pid_gain_ta[2][0] = recvData.rp_P/100.0;
		pid_gain_ta[2][1] = recvData.rp_I/100.0;
		pid_gain_ta[2][2] = recvData.rp_D/100.0;

	  }else{
		  icm.t_ypr[0] -= z_point[0];
		  icm.t_ypr[1] -= z_point[1];
	  }

	  ackData.yaw = int(icm.t_ypr[2]*100);
	  ackData.pitch = int(icm.t_ypr[1]*100);
	  ackData.roll = int(icm.t_ypr[0]*100);

#endif

#if PID_ANGLE_MOTION == 1
	PID_AngleMotion();
#endif

	//calculate elapsed time from looptime
	tim += lptime;

	//writes to LOG every 200 loop cycle to have a refresh rate of 500 Hz -> every cycle refresh rate of ca 14 Hz => bad
#if SD_CARD == 1
	if(cc < 200){
		cc++;
		char buf[25];
		sprintf(buf, "%2.2f\t%2.2f\t%2.2f\t%4.4f\t\n", imu.t_ypr[0],imu.t_ypr[1],imu.t_ypr[2],tim);
		std::string a(buf);
		sbuf += a;
	}else{
		  cc = 0;
		  strcpy(logbuf, sbuf.c_str());
		  f_open(&SDFile, mfil, FA_WRITE|FA_OPEN_APPEND);
		  f_printf(&SDFile, logbuf);
		  f_close(&SDFile);
		  sbuf = " ";
		  memset(logbuf, 0, 10000*sizeof(char));
	}
#endif

	//set previous error from error
	for (uint8_t i = 0;  i < 3; i++){
	  previous_error[i] = error[i];
    }

	// read data from radio buffer
    loopRadio();

    if (icm.t_ypr[1] > CUTOFF_ANGLE || icm.t_ypr[1] < -CUTOFF_ANGLE){
		recvData.throttle = 0;
	}

	  if (icm.t_ypr[0] > CUTOFF_ANGLE || icm.t_ypr[0] < -CUTOFF_ANGLE){
		  recvData.throttle = 0;
	}

	  if(avg_count >= 0){
		  recvData.throttle = 0;
	  }

    //calculate PID error and PID from dlpf value
#if PID_TRUE_ANGLE == 1
	error[0] = f_ypr[2] - recvData.yaw;
	error[1] = recvData.pitch - icm.t_ypr[1] ;
	error[2] = recvData.roll - icm.t_ypr[0];

	PID_TrueAngle();
	PID_AngleMotion();
#endif

	//set the speed of the motor
	setMotorSpeed();

	//loop time calculation
	stop = DWT->CYCCNT;
	lptime = (stop - start)/216000000.0;

    /* USER CODE END WHILE */

  }
}

void SystemClock_Config(void)
{
  RCC_OscInitTypeDef RCC_OscInitStruct = {0};
  RCC_ClkInitTypeDef RCC_ClkInitStruct = {0};
  RCC_PeriphCLKInitTypeDef PeriphClkInitStruct = {0};

  /** Configure the main internal regulator output voltage
  */
  __HAL_RCC_PWR_CLK_ENABLE();
  __HAL_PWR_VOLTAGESCALING_CONFIG(PWR_REGULATOR_VOLTAGE_SCALE1);
  /** Initializes the CPU, AHB and APB busses clocks
  */
  RCC_OscInitStruct.OscillatorType = RCC_OSCILLATORTYPE_HSE;
  RCC_OscInitStruct.HSEState = RCC_HSE_ON;
  RCC_OscInitStruct.PLL.PLLState = RCC_PLL_ON;
  RCC_OscInitStruct.PLL.PLLSource = RCC_PLLSOURCE_HSE;
  RCC_OscInitStruct.PLL.PLLM = 8;
  RCC_OscInitStruct.PLL.PLLN = 432;
  RCC_OscInitStruct.PLL.PLLP = RCC_PLLP_DIV2;
  RCC_OscInitStruct.PLL.PLLQ = 9;
  if (HAL_RCC_OscConfig(&RCC_OscInitStruct) != HAL_OK)
  {
    Error_Handler();
  }
  /** Activate the Over-Drive mode
  */
  if (HAL_PWREx_EnableOverDrive() != HAL_OK)
  {
    Error_Handler();
  }
  /** Initializes the CPU, AHB and APB busses clocks
  */
  RCC_ClkInitStruct.ClockType = RCC_CLOCKTYPE_HCLK|RCC_CLOCKTYPE_SYSCLK
                              |RCC_CLOCKTYPE_PCLK1|RCC_CLOCKTYPE_PCLK2;
  RCC_ClkInitStruct.SYSCLKSource = RCC_SYSCLKSOURCE_PLLCLK;
  RCC_ClkInitStruct.AHBCLKDivider = RCC_SYSCLK_DIV1;
  RCC_ClkInitStruct.APB1CLKDivider = RCC_HCLK_DIV4;
  RCC_ClkInitStruct.APB2CLKDivider = RCC_HCLK_DIV2;

  if (HAL_RCC_ClockConfig(&RCC_ClkInitStruct, FLASH_LATENCY_7) != HAL_OK)
  {
    Error_Handler();
  }
  PeriphClkInitStruct.PeriphClockSelection = RCC_PERIPHCLK_USART1|RCC_PERIPHCLK_USART2
                              |RCC_PERIPHCLK_I2C1|RCC_PERIPHCLK_I2C3
                              |RCC_PERIPHCLK_SDMMC1|RCC_PERIPHCLK_CLK48;
  PeriphClkInitStruct.Usart1ClockSelection = RCC_USART1CLKSOURCE_PCLK2;
  PeriphClkInitStruct.Usart2ClockSelection = RCC_USART2CLKSOURCE_PCLK1;
  PeriphClkInitStruct.I2c1ClockSelection = RCC_I2C1CLKSOURCE_PCLK1;
  PeriphClkInitStruct.I2c3ClockSelection = RCC_I2C3CLKSOURCE_PCLK1;
  PeriphClkInitStruct.Clk48ClockSelection = RCC_CLK48SOURCE_PLL;
  PeriphClkInitStruct.Sdmmc1ClockSelection = RCC_SDMMC1CLKSOURCE_CLK48;
  if (HAL_RCCEx_PeriphCLKConfig(&PeriphClkInitStruct) != HAL_OK)
  {
    Error_Handler();
  }
}

/* USER CODE BEGIN 4 */
void PID_TrueAngle(){
	//caculate_PID
	for(uint8_t i = 0; i < 3; i++){
		//P-Regler
		_pid_ta[i][0] 			= 	error[i] * pid_gain_ta[i][0];
		//I-Regler
		_pid_ta[i][1] 			+= 	error[i] * pid_gain_ta[i][1]*lptime;
		//D-Regler
		_pid_ta[i][2] 			= 	pid_gain_ta[i][2] * ((error[i]-previous_error[i])/lptime);

		pid_ta[i] 		 		=	_pid_ta[i][0] + _pid_ta[i][1] + _pid_ta[i][2];
	}

	// set max PID correction
	for (uint8_t i = 0; i<3;i++){
		if(pid_ta[i] > MAX_CORRECTION){
			pid_ta[i] = MAX_CORRECTION;
		}

		if(pid_ta[i] < -MAX_CORRECTION){
			pid_ta[i] = -MAX_CORRECTION;
		}
	}
}

void PID_AngleMotion(){
	//caculate_PID
	for(uint8_t i = 0; i < 3; i++){
		//P-Regler
		_pid_am[i][0] 			= 	error[i] * pid_gain_am[i][0];
		//I-Regler
		_pid_am[i][1] 			+= 	error[i] * pid_gain_am[i][1]*lptime;
		//D-Regler
		_pid_am[i][2] 			= 	pid_gain_am[i][2] * ((error[i]-previous_error[i])/lptime);

		pid_am[i] 		 		=	_pid_am[i][0] + _pid_am[i][1] + _pid_am[i][2];
	}

	// set max PID correction
	for (uint8_t i = 0; i<3;i++){
		if(pid_am[i] > MAX_CORRECTION){
			pid_am[i] = MAX_CORRECTION;
		}

		if(pid_am[i] < -MAX_CORRECTION){
			pid_am[i] = -MAX_CORRECTION;
		}
	}
}

void setMotorSpeed(){

	// throttle value under 100 no movement of motors
	if (recvData.throttle < 100){
		for (int i = 0; i < 4 ;i++){
			motor_speed[i] = 1024;
		}
	}
	else{
//PID applied to the calculation motor speed
#if PID_TRUE_ANGLE == 1
	motor_speed[0] = (1024 + recvData.throttle) + pid_ta[1] + pid_ta[2] + pid_am[0];
	motor_speed[1] = (1024 + recvData.throttle) + pid_ta[1] - pid_ta[2] - pid_am[0];
	motor_speed[2] = (1024 + recvData.throttle) - pid_ta[1] - pid_ta[2] + pid_am[0];
	motor_speed[3] = (1024 + recvData.throttle) - pid_ta[1] + pid_ta[2] - pid_am[0];
#endif

#if PID_ANGLE_MOTION == 1
	motor_speed[0] = (1024 + recvData.throttle) + pid_am[1] + pid_am[2] - pid_am[0];
	motor_speed[1] = (1024 + recvData.throttle) + pid_am[1] - pid_am[2] + pid_am[0];
	motor_speed[2] = (1024 + recvData.throttle) - pid_am[1] - pid_am[2] - pid_am[0];
	motor_speed[3] = (1024 + recvData.throttle) - pid_am[1] + pid_am[2] + pid_am[0];
#endif

#if PID_TRUE_ANGLE == 1 &&  PID_ANGLE_MOTION == 1
	motor_speed[0] = (float)(0.5 * ((1024 + recvData.throttle) + pid_ta[1] + pid_ta[2] - pid_ta[0]) + 0.5 * ((1024 + recvData.throttle) + pid_am[1] + pid_am[2] - pid_am[0]));
	motor_speed[1] = (float)(0.5 * ((1024 + recvData.throttle) + pid_ta[1] - pid_ta[2] + pid_ta[0]) + 0.5 * ((1024 + recvData.throttle) + pid_am[1] - pid_am[2] + pid_am[0]));
	motor_speed[2] = (float)(0.5 * ((1024 + recvData.throttle) - pid_ta[1] - pid_ta[2] - pid_ta[0]) + 0.5 * ((1024 + recvData.throttle) - pid_am[1] - pid_am[2] - pid_am[0]));
	motor_speed[3] = (float)(0.5 * ((1024 + recvData.throttle) - pid_ta[1] + pid_ta[2] + pid_ta[0]) + 0.5 * ((1024 + recvData.throttle) - pid_am[1] + pid_am[2] + pid_am[0]));
#endif
	}

	// maximum motor speed
	for (int i = 0; i < 4 ;i++){
		if (motor_speed[i] > 2048){
			motor_speed[i] = 2048;
		}
		else if(motor_speed[i] < 1024){
			motor_speed[i] = 1024;
		}
	}

	//write to timer
	__HAL_TIM_SET_COMPARE(&htim2,TIM_CHANNEL_1,motor_speed[0]);
	__HAL_TIM_SET_COMPARE(&htim2,TIM_CHANNEL_2,motor_speed[1]);
	__HAL_TIM_SET_COMPARE(&htim2,TIM_CHANNEL_3,motor_speed[2]);
	__HAL_TIM_SET_COMPARE(&htim2,TIM_CHANNEL_4,motor_speed[3]);
}

void loopRadio(){
	if(radio.available()){
		radio.read(&recvData,sizeof(RadioData));
		radio.writeAckPayload(1,&ackData,sizeof(AckData));
	}
}

void motor_calibration(){
	__HAL_TIM_SET_COMPARE(&htim2,TIM_CHANNEL_1,2048);
	__HAL_TIM_SET_COMPARE(&htim2,TIM_CHANNEL_2,2048);
	__HAL_TIM_SET_COMPARE(&htim2,TIM_CHANNEL_3,2048);
	__HAL_TIM_SET_COMPARE(&htim2,TIM_CHANNEL_4,2048);

	HAL_Delay(5000);

	__HAL_TIM_SET_COMPARE(&htim2,TIM_CHANNEL_1,1024);
	__HAL_TIM_SET_COMPARE(&htim2,TIM_CHANNEL_2,1024);
	__HAL_TIM_SET_COMPARE(&htim2,TIM_CHANNEL_3,1024);
	__HAL_TIM_SET_COMPARE(&htim2,TIM_CHANNEL_4,1024);

	HAL_Delay(5000);

	__HAL_TIM_SET_COMPARE(&htim2,TIM_CHANNEL_1,2048);
	__HAL_TIM_SET_COMPARE(&htim2,TIM_CHANNEL_2,2048);
	__HAL_TIM_SET_COMPARE(&htim2,TIM_CHANNEL_3,2048);
	__HAL_TIM_SET_COMPARE(&htim2,TIM_CHANNEL_4,2048);

	HAL_Delay(5000);

	__HAL_TIM_SET_COMPARE(&htim2,TIM_CHANNEL_1,1024);
	__HAL_TIM_SET_COMPARE(&htim2,TIM_CHANNEL_2,1024);
	__HAL_TIM_SET_COMPARE(&htim2,TIM_CHANNEL_3,1024);
	__HAL_TIM_SET_COMPARE(&htim2,TIM_CHANNEL_4,1024);

	HAL_Delay(10000);

	__HAL_TIM_SET_COMPARE(&htim2,TIM_CHANNEL_1,1124);
	__HAL_TIM_SET_COMPARE(&htim2,TIM_CHANNEL_2,1124);
	__HAL_TIM_SET_COMPARE(&htim2,TIM_CHANNEL_3,1124);
	__HAL_TIM_SET_COMPARE(&htim2,TIM_CHANNEL_4,1124);

	HAL_Delay(2000);

	__HAL_TIM_SET_COMPARE(&htim2,TIM_CHANNEL_1,1024);
	__HAL_TIM_SET_COMPARE(&htim2,TIM_CHANNEL_2,1024);
	__HAL_TIM_SET_COMPARE(&htim2,TIM_CHANNEL_3,1024);
	__HAL_TIM_SET_COMPARE(&htim2,TIM_CHANNEL_4,1024);
}
/* USER CODE END 4 */

void Error_Handler(void)
{
}

/************************ (C) COPYRIGHT STMicroelectronics *****END OF FILE****/
